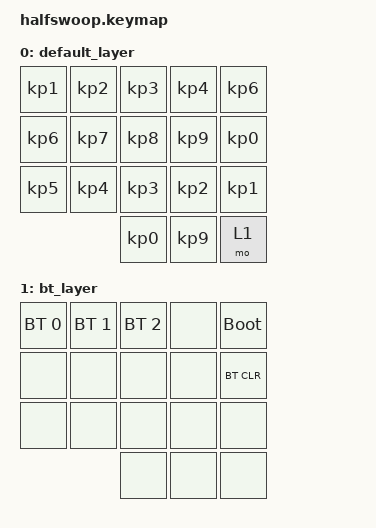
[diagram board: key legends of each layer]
#include <behaviors.dtsi>
#include <dt-bindings/zmk/keys.h>
#include <dt-bindings/zmk/bt.h>

/ {
    keymap {
        compatible = "zmk,keymap";

        default_layer {
            bindings = <
                &kp KP_N1    &kp KP_N2    &kp KP_N3    &kp KP_N4    &kp KP_N6
                &kp KP_N6    &kp KP_N7    &kp KP_N8    &kp KP_N9    &kp KP_N0
                &kp KP_N5    &kp KP_N4    &kp KP_N3    &kp KP_N2    &kp KP_N1
                                          &kp KP_N0    &kp KP_N9    &mo 1
            >;
        };

        bt_layer {
            bindings = <
                &bt BT_SEL 0   &bt BT_SEL 1    &bt BT_SEL 2    &none    &bootloader
                &none    &none    &none    &none    &bt BT_CLR
                &none    &none    &none    &none    &none
                                  &none    &none    &none
            >;
        };
    };
};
